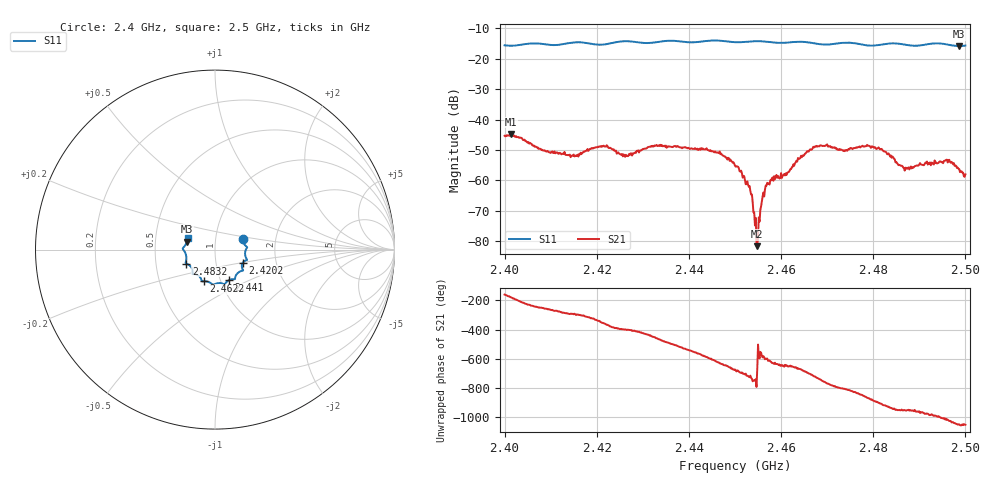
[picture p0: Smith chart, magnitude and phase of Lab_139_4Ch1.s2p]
# Hz S RI R 50
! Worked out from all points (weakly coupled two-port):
!   601 points, 2.4 GHz to 2.5 GHz, reference 50 ohm
!   highest |S21| = -44.76 dB at 2.4013 GHz (marker M1); lowest = -81.7 dB at 2.4548 GHz (marker M2)
!   lowest |S11| = -15.8 dB at 2.4987 GHz (marker M3), VSWR 1.39, Z = 36.4 + j3.35 ohm
!   |S11| at or under -10 dB: start of sweep to end of sweep
!   S12 and S22 are empty: the file has one direction only
!   S11 on the Smith chart (normalised r, x): 2.4 GHz: 1.36, +0.17; 2.4202 GHz: 1.35, -0.20; 2.441 GHz: 1.09, -0.39; 2.4622 GHz: 0.83, -0.30; 2.4832 GHz: 0.72, -0.12; 2.5 GHz: 0.73, +0.10
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2.4e9  0.1563 0.0594  -0.00513 -0.0017  0 0  0 0
2.401333e9  0.1585 0.0433  -0.00578 -5.35e-05  0 0  0 0
2.4095e9  0.1709 -0.00304  -0.000457 0.00291  0 0  0 0
2.416667e9  0.1775 -0.0582  0.00148 0.00224  0 0  0 0
2.420167e9  0.1556 -0.0723  0.00326 0.00125  0 0  0 0
2.426167e9  0.1573 -0.1158  0.00187 -0.00156  0 0  0 0
2.433333e9  0.1131 -0.1527  -0.000976 -0.00359  0 0  0 0
2.441e9  0.0764 -0.171  -0.00323 0.000666  0 0  0 0
2.45e9  0.0261 -0.1864  0.00117 0.00128  0 0  0 0
2.453167e9  -0.00149 -0.1926  0.000802 -7.63e-05  0 0  0 0
2.454833e9  -0.00932 -0.1951  4.95e-05 6.55e-05  0 0  0 0
2.456167e9  -0.0145 -0.1932  -0.000472 0.000417  0 0  0 0
2.457e9  -0.0187 -0.1903  -0.00048 0.000769  0 0  0 0
2.462167e9  -0.0634 -0.1767  0.00059 0.00141  0 0  0 0
2.466667e9  -0.0765 -0.1664  0.00312 0.000656  0 0  0 0
2.478833e9  -0.1292 -0.1042  -0.00309 -0.00204  0 0  0 0
2.483167e9  -0.16 -0.0779  -0.00239 0.00122  0 0  0 0
2.483333e9  -0.1608 -0.0775  -0.00249 0.00122  0 0  0 0
2.487e9  -0.1604 -0.0592  -0.000996 0.00127  0 0  0 0
2.496e9  -0.1716 0.0163  0.000835 0.00201  0 0  0 0
2.498667e9  -0.1557 0.0448  0.00128 0.000834  0 0  0 0
2.5e9  -0.1529 0.0634  0.00108 0.000636  0 0  0 0
